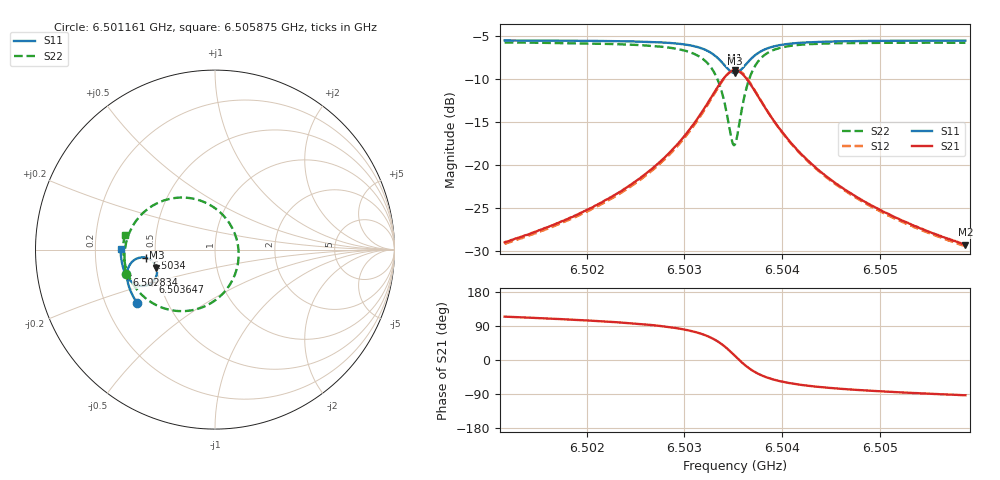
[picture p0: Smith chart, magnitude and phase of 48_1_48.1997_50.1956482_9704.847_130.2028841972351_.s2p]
#  HZ  S  RI  R  50.00
! Rohde & Schwarz Vector Network Analyzer
! Rohde-Schwarz,ZNB20-2Port,1311601062101988,3.16
! Created: UTC 3/20/2024, 11:38:08 AM
! freq[Hz]  re:S11  im:S11  re:S21  im:S21  re:S12  im:S12  re:S22  im:S22
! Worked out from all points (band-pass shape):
!   401 points, 6.501161 GHz to 6.505875 GHz, reference 50 ohm
!   highest |S21| = -9.03 dB at 6.503518 GHz (marker M1); lowest = -29.2 dB at 6.505875 GHz (marker M2)
!   |S21| within 3 dB of the highest: 6.503282 GHz to 6.503753 GHz (471.3 kHz wide, 0.00725 % of centre)
!   lowest |S11| = -9.3 dB at 6.503518 GHz (marker M3), VSWR 2.04, Z = 25 - j5.68 ohm
!   |S11| at or under -10 dB: nowhere
!   |S22| runs from -17.7 to -5.8 dB; largest |S21 - S12| = 0.012
!   S11 on the Smith chart (normalised r, x): 6.501161 GHz: 0.34, -0.28; 6.502834 GHz: 0.33, -0.13; 6.5034 GHz: 0.45, -0.05; 6.503647 GHz: 0.46, -0.20; 6.505875 GHz: 0.31, +0.00
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6.5011607e9  -0.4358 -0.2956  -0.0147 0.0325  -0.013 0.0325  -0.4951 -0.1339
6.5019503e9  -0.4684 -0.2352  -0.0139 0.0513  -0.0114 0.0508  -0.5045 -0.0459
6.5023746e9  -0.4825 -0.1962  -0.0105 0.0713  -0.00748 0.07  -0.4993 0.0179
6.5027399e9  -0.4902 -0.1538  -0.000284 0.1032  0.00335 0.1006  -0.4762 0.0965
6.5028342e9  -0.4904 -0.1403  0.00554 0.1157  0.00939 0.1126  -0.4635 0.1232
6.5030345e9  -0.4846 -0.1057  0.0307 0.1526  0.0343 0.1478  -0.411 0.1943
6.5031759e9  -0.4681 -0.0751  0.0727 0.1878  0.0751 0.1815  -0.33 0.2543
6.5033056e9  -0.4305 -0.048  0.1533 0.2139  0.1537 0.2075  -0.1833 0.29
6.5033998e9  -0.3818 -0.0459  0.2484 0.1956  0.2484 0.1911  -0.0182 0.243
6.5034823e9  -0.3373 -0.0771  0.3292 0.117  0.332 0.113  0.1109 0.0875
6.5035177e9  -0.3261 -0.1004  0.3472 0.0661  0.351 0.0606  0.1315 -0.00862
6.5035413e9  -0.3231 -0.1174  0.3503 0.03  0.3547 0.0232  0.1283 -0.075
6.5035766e9  -0.3255 -0.1426  0.3421 -0.0223  0.3461 -0.0314  0.0984 -0.1678
6.5036473e9  -0.3488 -0.1814  0.2928 -0.1011  0.2929 -0.1132  -0.018 -0.2954
6.5037416e9  -0.3912 -0.2018  0.2113 -0.1455  0.2059 -0.1561  -0.1846 -0.3428
6.5038123e9  -0.4183 -0.2018  0.1616 -0.1505  0.1547 -0.1588  -0.2772 -0.3292
6.5038948e9  -0.4421 -0.1947  0.1195 -0.1441  0.1121 -0.1499  -0.3511 -0.2961
6.5040598e9  -0.472 -0.1736  0.0698 -0.1221  0.0631 -0.1247  -0.4316 -0.2264
6.5043073e9  -0.4949 -0.1424  0.0359 -0.0942  0.0308 -0.0947  -0.4806 -0.1464
6.5046726e9  -0.5112 -0.1028  0.0155 -0.0685  0.0119 -0.0682  -0.5045 -0.0676
6.5050969e9  -0.5205 -0.0625  0.00555 -0.0515  0.00309 -0.0507  -0.5108 -0.00363
6.5058747e9  -0.5261 0.00443  -0.00185 -0.0346  -0.00322 -0.0338  -0.5041 0.0825
